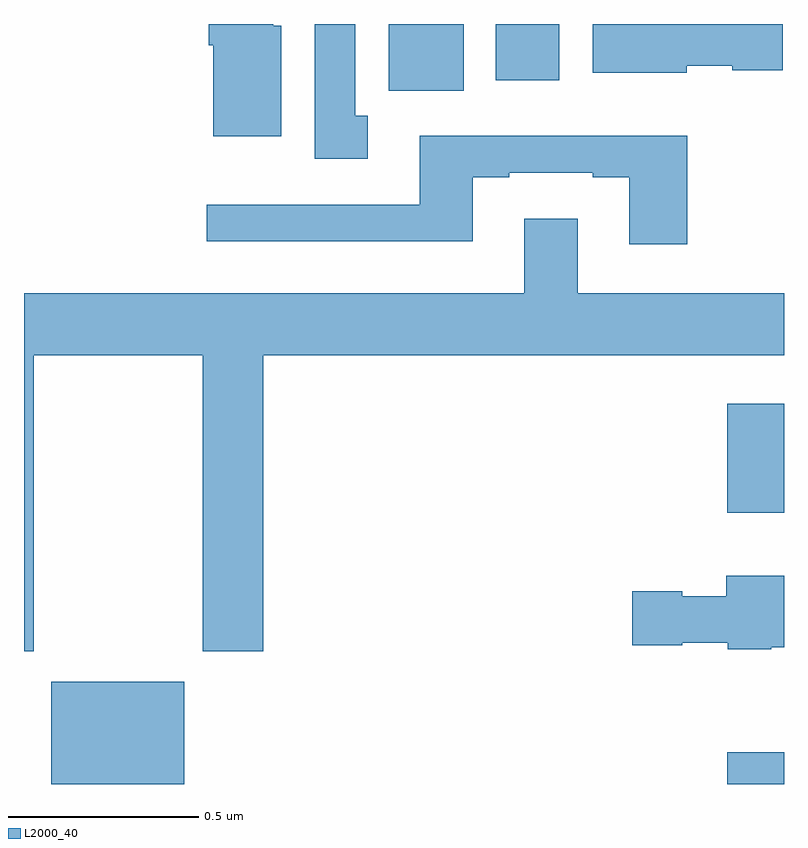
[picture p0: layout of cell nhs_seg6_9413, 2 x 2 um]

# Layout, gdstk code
import gdstk
lib = gdstk.Library(unit=1e-6, precision=1e-09)
def R(c, l, rs):  # rectangles x0, y0, x1, y1
    for r in rs: c.add(gdstk.rectangle(r[:2], r[2:], *l))
def P(c, l, *ps):  # polygons
    for p in ps: c.add(gdstk.Polygon(p, *l))
L2000_40 = (2000, 40)

nhs_seg6_9413 = lib.new_cell('nhs_seg6_9413')
R(nhs_seg6_9413, L2000_40, [(233.072,987.5,233.422,987.769), (234.851,987.5,235,987.584), (234.851,988.214,235,988.501), (233.96,989.324,234.157,989.5), (234.242,989.352,234.409,989.5)])
P(nhs_seg6_9413, L2000_40, [(233.905,989.258),(233.872,989.258),(233.872,989.5),(233.765,989.5),(233.765,989.145),(233.905,989.145)],
  [(233.677,989.496),(233.656,989.496),(233.656,989.5),(233.486,989.5),(233.486,989.444),(233.498,989.444),(233.498,989.204),(233.677,989.204)],
  [(234.744,989.39),(234.864,989.39),(234.864,989.378),(234.997,989.378),(234.997,989.5),(234.497,989.5),(234.497,989.372),(234.744,989.372)],
  [(234.746,989.206),(234.041,989.206),(234.041,989.025),(233.481,989.025),(233.481,988.928),(234.181,988.928),(234.181,989.097),(234.277,989.097),(234.277,989.109),(234.497,989.109),(234.497,989.097),(234.593,989.097),(234.593,988.92),(234.746,988.92)],
  [(233.025,988.628),(233.47,988.628),(233.47,987.849),(233.63,987.849),(233.63,988.628),(235,988.628),(235,988.792),(234.457,988.792),(234.457,988.987),(234.317,988.987),(234.317,988.792),(233,988.792),(233,987.849),(233.025,987.849)],
  [(234.966,987.86),(235,987.86),(235,988.048),(234.848,988.048),(234.848,987.994),(234.732,987.994),(234.732,988.007),(234.6,988.007),(234.6,987.865),(234.732,987.865),(234.732,987.872),(234.852,987.872),(234.852,987.854),(234.966,987.854)])

lib.write_gds('nhs_seg6_9413.gds')
